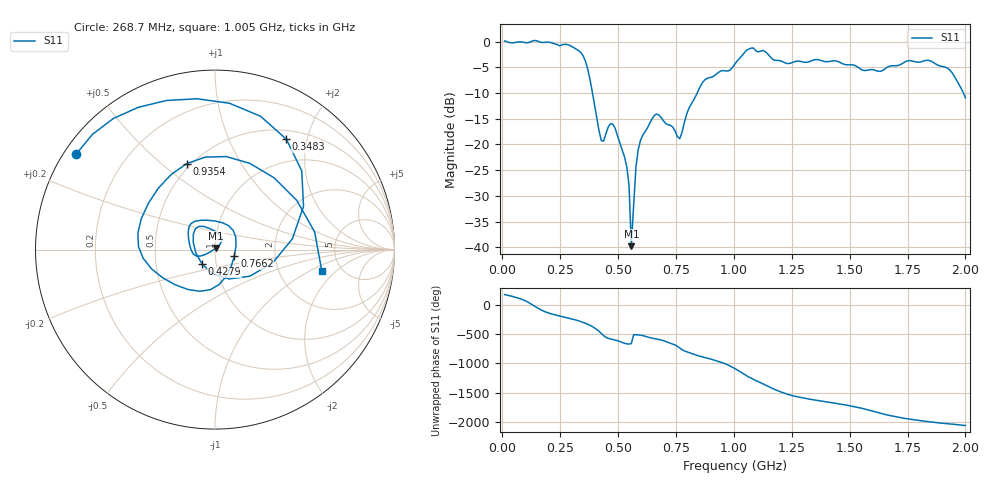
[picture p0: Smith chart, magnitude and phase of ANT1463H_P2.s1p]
!Created with skrf (http://scikit-rf.org).
# Hz S RI R 50.0
!freq ReS11 ImS11
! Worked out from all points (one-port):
!   201 points, 10 MHz to 2 GHz, reference 50 ohm
!   lowest |S11| = -39.8 dB at 557.2 MHz (marker M1), VSWR 1.02, Z = 50.6 + j0.856 ohm
!   |S11| at or under -10 dB: 389.5 MHz to 841.6 MHz (452.2 MHz wide, 73.5 % of centre); 1.991469 GHz to end of sweep
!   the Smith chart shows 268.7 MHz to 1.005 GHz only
!   S11 on the Smith chart (normalised r, x): 268.7 MHz: 0.03, +0.31; 348.3 MHz: 0.62, +1.66; 427.9 MHz: 0.86, -0.14; 766.2 MHz: 1.24, -0.09; 935.4 MHz: 0.48, +0.61; 1.005 GHz: 3.54, -1.35
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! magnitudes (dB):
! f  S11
! 10 MHz  0.1
! 258.8 MHz  -0.6
! 268.7 MHz  -0.5
! 348.3 MHz  -2.7
! 378.1 MHz  -7.2
! 427.9 MHz  -19.3
! 467.7 MHz  -15.9
! 487.6 MHz  -16.9
! 507.5 MHz  -19.7
! 537.4 MHz  -24.3
! 547.3 MHz  -27.9
! 557.2 MHz  -39.8
! 577.1 MHz  -24.4
! 597 MHz  -19.2
! 666.7 MHz  -14.1
! 756.2 MHz  -18.5
! 766.2 MHz  -18.9
! 806 MHz  -13.0
! 855.8 MHz  -8.7
! 935.4 MHz  -5.9
! 1.005 GHz  -4.3
! 1.085 GHz  -1.3
! 1.254 GHz  -4.1
! 1.502 GHz  -4.5
! 1.632 GHz  -5.8
! 1.751 GHz  -3.7
! 1.92 GHz  -5.1
! 2 GHz  -10.9
